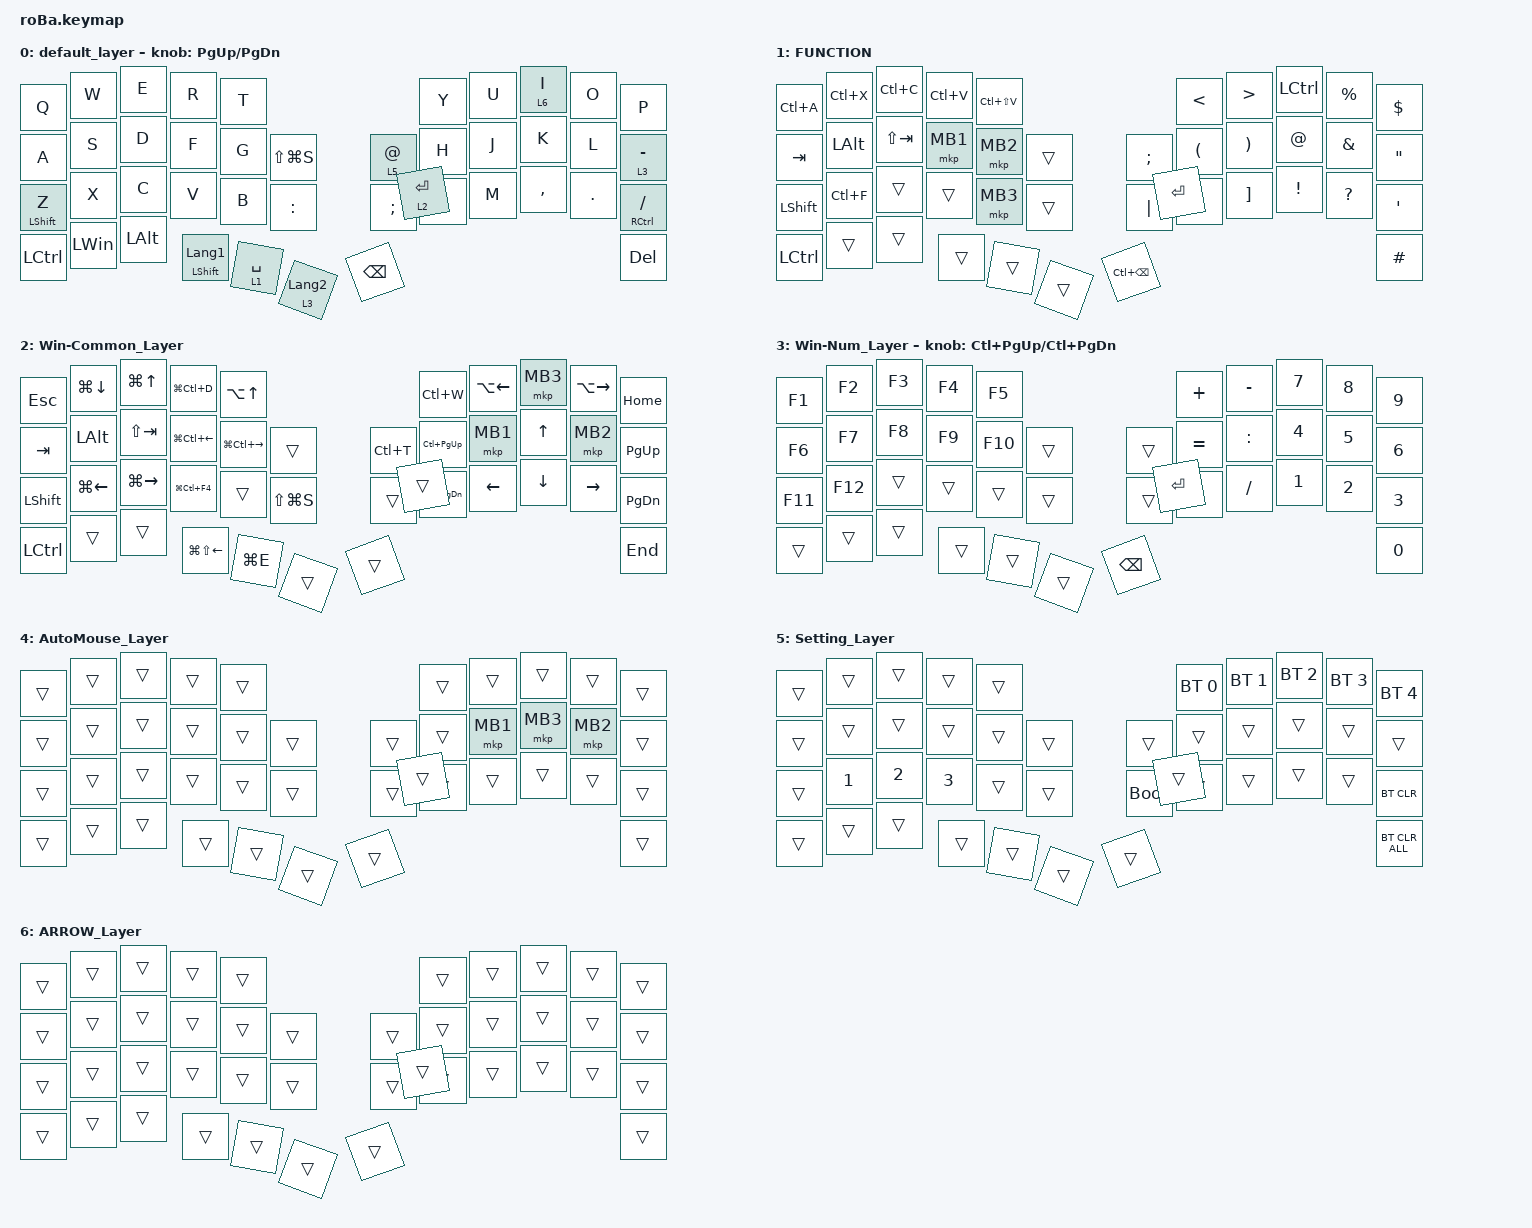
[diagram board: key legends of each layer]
#include <behaviors.dtsi>
#include <dt-bindings/zmk/bt.h>
#include <dt-bindings/zmk/keys.h>
#include <dt-bindings/zmk/pointing.h>

&mt {
    flavor = "balanced";
    quick-tap-ms = <0>;
};

&trackball {
    // automouse-layer = <4>;
    // scroll-layers = <3>;

    arrows {
        layers = <6>;
        bindings =
            <&kp RIGHT_ARROW>,
            <&kp LEFT_ARROW>,
            <&kp UP_ARROW>,
            <&kp DOWN_ARROW>;

        tick = <10>;
        wait-ms = <5>;
        tap-ms = <5>;
    };
};

/ {
    combos {
        compatible = "zmk,combos";

        tab {
            bindings = <&kp TAB>;
            key-positions = <11 12>;
        };

        shift_tab {
            bindings = <&kp LS(TAB)>;
            key-positions = <12 13>;
        };

        muhennkann {
            bindings = <&to_layer_0 INT_MUHENKAN>;
            key-positions = <11 10>;
        };

        double_quotation {
            bindings = <&kp DOUBLE_QUOTES>;
            key-positions = <20 21>;
        };

        eq {
            bindings = <&kp EQUAL>;
            key-positions = <24 25>;
        };
    };

    macros {
        to_layer_0: to_layer_0 {
            compatible = "zmk,behavior-macro-one-param";
            #binding-cells = <1>;
            bindings = <&to 0 &macro_param_1to1 &kp MACRO_PLACEHOLDER>;
            label = "TO_LAYER_0";
        };
    };

    behaviors {
        lt_to_layer_0: lt_to_layer_0 {
            compatible = "zmk,behavior-hold-tap";
            label = "LAYER_TAP_TO_0";
            bindings = <&mo>, <&to_layer_0>;

            #binding-cells = <2>;
            tapping-term-ms = <200>;
        };
    };

    keymap {
        compatible = "zmk,keymap";

        default_layer {
            bindings = <
&kp Q             &kp W         &kp E         &kp R                      &kp T                                             &kp Y        &kp U  &lt 6 I    &kp O    &kp P
&kp A             &kp S         &kp D         &kp F                      &kp G        &kp LS(LG(S))         &lt 5 AT_SIGN  &kp H        &kp J  &kp K      &kp L    &lt 3 MINUS
&mt LEFT_SHIFT Z  &kp X         &kp C         &kp V                      &kp B        &kp COLON             &kp SEMICOLON  &kp N        &kp M  &kp COMMA  &kp DOT  &mt RCTRL SLASH
&kp LCTRL         &kp LEFT_WIN  &kp LEFT_ALT  &mt LEFT_SHIFT LANGUAGE_1  &lt 1 SPACE  &lt 3 LANGUAGE_2      &kp BACKSPACE  &lt 2 ENTER                             &kp DEL
            >;

            sensor-bindings = <&inc_dec_kp PG_UP PAGE_DOWN>;
        };

        FUNCTION {
            bindings = <
&kp LC(A)       &kp LC(X)  &kp LC(C)    &kp LC(V)  &kp LC(LS(V))                                 &kp LESS_THAN         &kp GREATER_THAN       &kp LCTRL        &kp PERCENT    &kp DOLLAR
&kp TAB         &kp LALT   &kp LS(TAB)  &mkp MB1   &mkp MB2       &trans      &kp SEMI           &kp LEFT_PARENTHESIS  &kp RIGHT_PARENTHESIS  &kp AT_SIGN      &kp AMPERSAND  &kp DOUBLE_QUOTES
&kp LEFT_SHIFT  &kp LC(F)  &trans       &trans     &mkp MB3       &trans      &kp PIPE           &kp LEFT_BRACKET      &kp RIGHT_BRACKET      &kp EXCLAMATION  &kp QUESTION   &kp SQT
&kp LCTRL       &trans     &trans       &trans     &trans         &trans      &kp LC(BACKSPACE)  &kp ENTER                                                                    &kp HASH
            >;
        };

        Win-Common_Layer {
            bindings = <
&kp ESCAPE      &kp LG(DOWN_ARROW)  &kp LG(UP_ARROW)     &kp LG(LC(D))           &kp LA(UP_ARROW)                                       &kp LC(W)      &kp LA(LEFT)  &mkp MB3  &kp LA(RIGHT)  &kp HOME
&kp TAB         &kp LEFT_ALT        &kp LS(TAB)          &kp LG(LC(LEFT_ARROW))  &kp LG(LC(RIGHT_ARROW))  &trans             &kp LC(T)  &kp LC(PG_UP)  &mkp MB1      &kp UP    &mkp MB2       &kp PG_UP
&kp LEFT_SHIFT  &kp LG(LEFT_ARROW)  &kp LG(RIGHT_ARROW)  &kp LG(LC(F4))          &trans                   &kp LS(LG(S))      &trans     &kp LC(PG_DN)  &kp LEFT      &kp DOWN  &kp RIGHT      &kp PG_DN
&kp LCTRL       &trans              &trans               &kp LG(LS(LEFT_ARROW))  &kp LG(E)                &trans             &trans     &trans                                                &kp END
            >;
        };

        Win-Num_Layer {
            bindings = <
&kp F1   &kp F2   &kp F3  &kp F4  &kp F5                              &kp PLUS      &kp MINUS  &kp N7  &kp N8  &kp N9
&kp F6   &kp F7   &kp F8  &kp F9  &kp F10  &trans      &trans         &kp EQUAL     &kp COLON  &kp N4  &kp N5  &kp N6
&kp F11  &kp F12  &trans  &trans  &trans   &trans      &trans         &kp ASTERISK  &kp SLASH  &kp N1  &kp N2  &kp N3
&trans   &trans   &trans  &trans  &trans   &trans      &kp BACKSPACE  &kp ENTER                                &kp N0
            >;

            sensor-bindings = <&inc_dec_kp LC(PAGE_UP) LC(PAGE_DOWN)>;
        };

        AutoMouse_Layer {
            bindings = <
&trans  &trans  &trans  &trans  &trans                      &trans  &trans    &trans    &trans    &trans
&trans  &trans  &trans  &trans  &trans  &trans      &trans  &trans  &mkp MB1  &mkp MB3  &mkp MB2  &trans
&trans  &trans  &trans  &trans  &trans  &trans      &trans  &trans  &trans    &trans    &trans    &trans
&trans  &trans  &trans  &trans  &trans  &trans      &trans  &trans                                &trans
            >;
        };

        Setting_Layer {
            bindings = <
&trans  &trans        &trans        &trans        &trans                           &bt BT_SEL 0  &bt BT_SEL 1  &bt BT_SEL 2  &bt BT_SEL 3  &bt BT_SEL 4
&trans  &trans        &trans        &trans        &trans  &trans      &trans       &trans        &trans        &trans        &trans        &trans
&trans  &kp NUMBER_1  &kp NUMBER_2  &kp NUMBER_3  &trans  &trans      &bootloader  &trans        &trans        &trans        &trans        &bt BT_CLR
&trans  &trans        &trans        &trans        &trans  &trans      &trans       &trans                                                  &bt BT_CLR_ALL
            >;
        };

        ARROW_Layer {
            bindings = <
&trans  &trans  &trans  &trans  &trans                      &trans  &trans  &trans  &trans  &trans
&trans  &trans  &trans  &trans  &trans  &trans      &trans  &trans  &trans  &trans  &trans  &trans
&trans  &trans  &trans  &trans  &trans  &trans      &trans  &trans  &trans  &trans  &trans  &trans
&trans  &trans  &trans  &trans  &trans  &trans      &trans  &trans                          &trans
            >;
        };
    };
};
